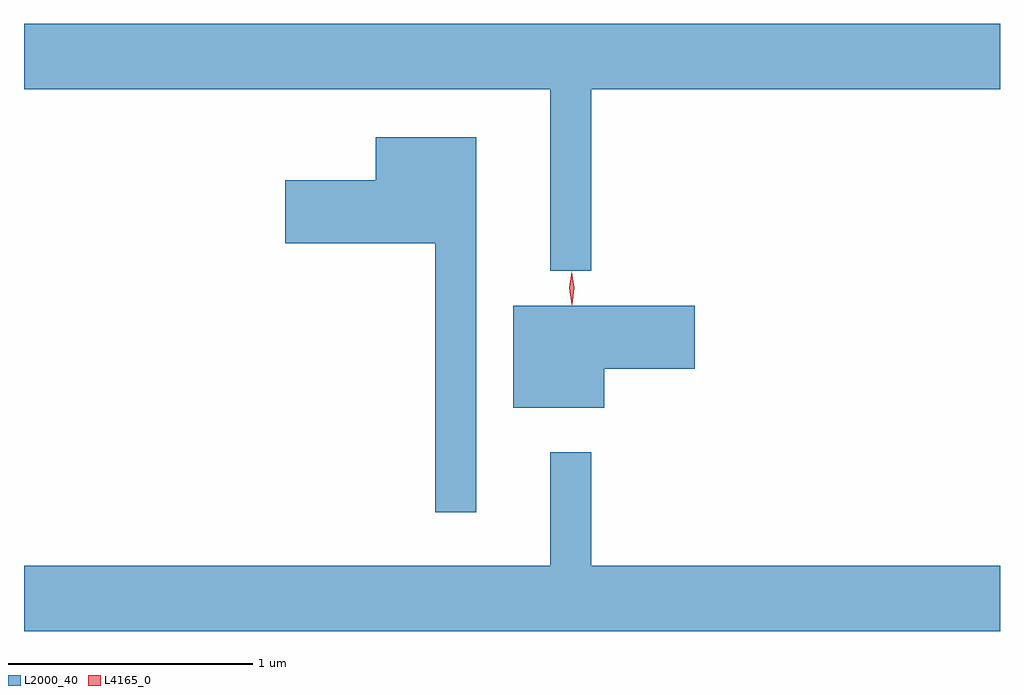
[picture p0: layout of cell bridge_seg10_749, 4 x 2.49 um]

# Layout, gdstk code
import gdstk
lib = gdstk.Library(unit=1e-6, precision=1e-09)
def P(c, l, *ps):  # polygons
    for p in ps: c.add(gdstk.Polygon(p, *l))
L2000_40 = (2000, 40)
L4165_0 = (4165, 0)

bridge_seg10_749 = lib.new_cell('bridge_seg10_749')
P(bridge_seg10_749, L2000_40, [(512.919,2136.116),(514.595,2136.116),(514.595,2136.384),(510.595,2136.384),(510.595,2136.116),(512.751,2136.116),(512.751,2135.373),(512.919,2135.373)],
  [(512.449,2135.919),(512.036,2135.919),(512.036,2135.744),(511.666,2135.744),(511.666,2135.486),(512.281,2135.486),(512.281,2134.383),(512.449,2134.383)],
  [(512.974,2134.971),(513.344,2134.971),(513.344,2135.229),(512.601,2135.229),(512.601,2134.811),(512.974,2134.811)],
  [(514.595,2134.164),(512.919,2134.164),(512.919,2134.628),(512.751,2134.628),(512.751,2134.164),(510.595,2134.164),(510.595,2133.896),(514.595,2133.896)])
P(bridge_seg10_749, L4165_0, [(512.84,2135.234),(512.84,2135.234),(512.83,2135.302),(512.839,2135.369),(512.84,2135.369),(512.84,2135.369),(512.85,2135.302),(512.841,2135.234)],
  [(512.84,2135.24),(512.84,2135.241),(512.83,2135.303),(512.839,2135.365),(512.84,2135.366),(512.84,2135.365),(512.85,2135.303),(512.841,2135.241)])

lib.write_gds('bridge_seg10_749.gds')
